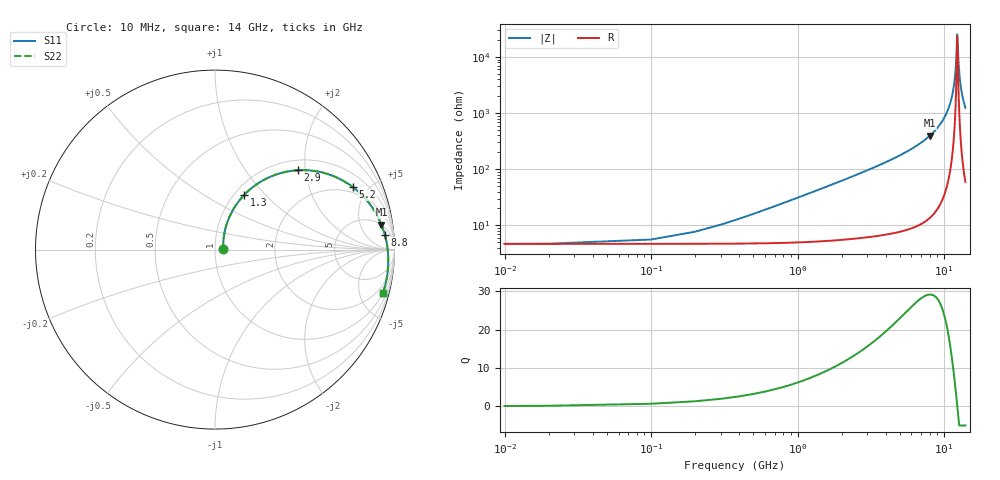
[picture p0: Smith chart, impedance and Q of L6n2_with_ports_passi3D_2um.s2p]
#  GHZ S DB R 50.0
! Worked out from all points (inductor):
!   142 points, 10 MHz to 14 GHz, reference 50 ohm
!   read as one part in series: L = 4.86 nH near 500 MHz
!   highest Q = 29.1 at 8 GHz (marker M1), where L = 7.86 nH
!   self-resonance near 12.3 GHz
!   S11 on the Smith chart (normalised r, x): 10 MHz: 1.09, +0.01; 1.3 GHz: 1.11, +0.77; 2.9 GHz: 1.22, +1.82; 5.2 GHz: 1.65, +4.00; 8.8 GHz: 10, +17; 14 GHz: 1.06, -7.76
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0.01  -26.98 3.4  -0.40 -0.2  -0.40 -0.2  -26.98 3.4
0.6  -15.47 65.8  -0.58 -10.5  -0.58 -10.5  -15.47 65.8
1.3  -9.26 61.9  -1.08 -21.8  -1.08 -21.8  -9.26 61.9
2.4  -4.98 49.2  -2.33 -37.1  -2.33 -37.1  -4.98 49.2
2.9  -3.90 43.8  -3.02 -43.0  -3.02 -43.0  -3.90 43.8
4.7  -1.79 27.9  -5.87 -59.9  -5.87 -59.9  -1.79 27.9
5.2  -1.47 24.3  -6.74 -63.6  -6.74 -63.6  -1.47 24.3
7.1  -0.75 13.0  -10.38 -75.1  -10.38 -75.1  -0.75 13.0
8  -0.56 8.5  -12.41 -79.6  -12.41 -79.6  -0.56 8.5
8.8  -0.44 4.9  -14.48 -83.1  -14.48 -83.1  -0.44 4.9
9.4  -0.38 2.4  -16.31 -85.5  -16.31 -85.5  -0.38 2.4
10.8  -0.29 -3.2  -22.37 -89.9  -22.37 -89.9  -0.29 -3.2
11.3  -0.28 -5.0  -25.92 -90.5  -25.92 -90.5  -0.28 -5.0
11.7  -0.27 -6.5  -30.25 -89.4  -30.25 -89.4  -0.27 -6.5
11.9  -0.27 -7.2  -33.54 -87.1  -33.54 -87.1  -0.27 -7.2
12.1  -0.26 -7.9  -38.71 -79.7  -38.71 -79.7  -0.26 -7.9
12.3  -0.26 -8.6  -48.33 -30.8  -48.33 -30.8  -0.26 -8.6
12.4  -0.26 -9.0  -46.32 34.2  -46.32 34.2  -0.26 -9.0
12.6  -0.26 -9.7  -37.59 65.1  -37.59 65.1  -0.27 -9.7
12.9  -0.27 -10.7  -31.39 72.0  -31.39 72.0  -0.27 -10.7
13.4  -0.28 -12.4  -26.07 73.7  -26.07 73.7  -0.28 -12.4
14  -0.30 -14.4  -22.32 73.1  -22.32 73.1  -0.30 -14.4
